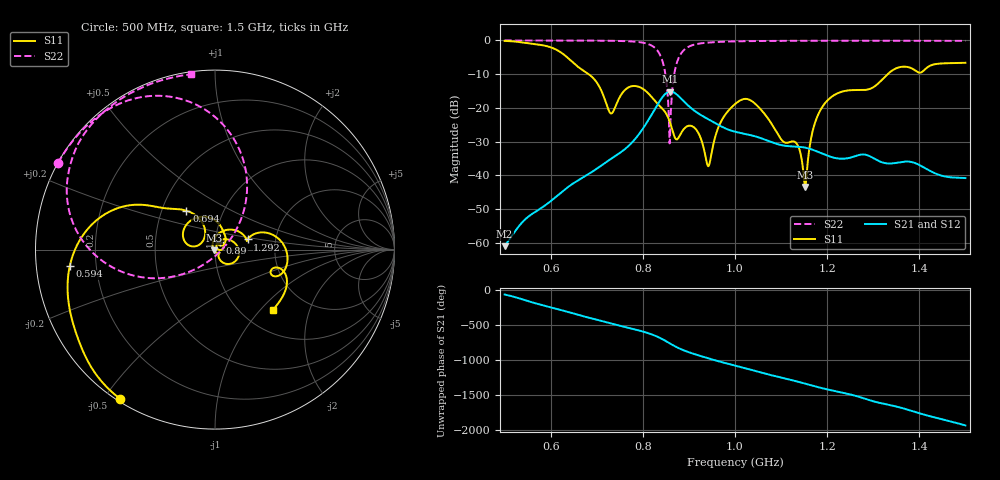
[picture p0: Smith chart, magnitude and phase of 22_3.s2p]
! TOUCHSTONE file generated by CST MICROWAVE STUDIO
! Date and time: Fri Oct 30 07:57:46 2020
! Project name: Scenario_1_Circular_Tissue_out_of_Line.cst
! Parameters = {dy1=18.161; L_HA=400; MT=2.54; Rad_Dielectric=30; Rad_Lower=7.3; Rad_Upper=30; a_HA=580; a_WG=246; b_HA=500; b_WG=121; c_HA=0; c_WG=187; d_feed=85; dx1=520; h_feed=15; h_lower=18; h_upper=40}
! Header version: 2018
! Port assignment regex: !\s*Touchstone port\s*([0-9]+)\s*=\s*(CST MWS port|CST DS port)\s*([0-9]+|Zmin|Zmax)\s*\(\"(.*)\"\)(\s*mode\s*([0-9]+))?.*
! Touchstone port assignment:
! Touchstone port 1 = CST MWS port 1 ("")
! Touchstone port 2 = CST MWS port 2 ("")
# GHz S DB R 50
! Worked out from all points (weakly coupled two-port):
!   1001 points, 500 MHz to 1.5 GHz, reference 50 ohm
!   highest |S21| = -15.14 dB at 860 MHz (marker M1); lowest = -61.0 dB at 500 MHz (marker M2)
!   lowest |S11| = -43.4 dB at 1.152 GHz (marker M3), VSWR 1.01, Z = 49.5 - j0.409 ohm
!   |S11| at or under -10 dB: 682.5 MHz to 1.331 GHz (648.7 MHz wide, 64.4 % of centre)
!   |S22| runs from -30.5 to 0.0 dB; largest |S21 - S12| = 2e-05
!   S11 on the Smith chart (normalised r, x): 500 MHz: 0.01, -0.55; 594 MHz: 0.10, -0.06; 694 MHz: 0.67, +0.31; 890 MHz: 1.06, +0.08; 1.292 GHz: 1.43, +0.17; 1.5 GHz: 1.37, -1.18
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0.5  -0.13 -122.5  -60.96 -60.0  -60.96 -60.0  -0.01 151.1
0.594  -1.78 -173.5  -48.26 127.1  -48.26 127.1  -0.02 144.6
0.667  -8.58 141.5  -40.87 -4.7  -40.87 -4.7  -0.04 138.3
0.694  -11.41 126.3  -38.58 -51.4  -38.58 -51.4  -0.06 135.5
0.73  -21.60 141.5  -35.18 -114.2  -35.18 -114.2  -0.11 130.8
0.777  -13.54 141.1  -30.17 168.5  -30.17 168.5  -0.31 121.1
0.834  -19.08 65.3  -18.53 47.2  -18.53 47.2  -3.47 84.0
0.86  -24.75 31.3  -15.14 -47.1  -15.14 -47.1  -23.94 -114.3
0.871  -29.13 41.6  -15.74 -87.7  -15.74 -87.7  -8.02 -156.5
0.89  -26.09 53.4  -18.19 -144.7  -18.19 -144.7  -2.74 177.1
0.917  -26.64 9.5  -21.32 154.2  -21.32 154.2  -1.07 159.1
0.942  -37.29 31.1  -23.36 104.0  -23.35 104.0  -0.63 150.7
0.967  -24.78 61.2  -25.25 56.8  -25.25 56.8  -0.42 145.4
1  -18.87 20.4  -27.05 0.6  -27.05 0.6  -0.27 140.2
1.036  -17.93 -33.7  -28.14 -62.8  -28.14 -62.8  -0.19 135.8
1.132  -30.27 -41.8  -31.44 136.4  -31.44 136.4  -0.11 127.0
1.152  -43.40 -142.3  -31.77 100.4  -31.77 100.4  -0.10 125.4
1.167  -27.75 107.1  -32.33 73.0  -32.33 73.0  -0.10 124.2
1.208  -16.88 51.1  -34.50 6.1  -34.50 6.1  -0.08 121.0
1.292  -14.39 17.3  -34.28 -137.5  -34.29 -137.6  -0.09 114.6
1.334  -9.66 14.8  -36.47 155.9  -36.47 155.9  -0.08 111.4
1.5  -6.63 -46.2  -40.78 -140.0  -40.77 -140.0  -0.13 97.8
